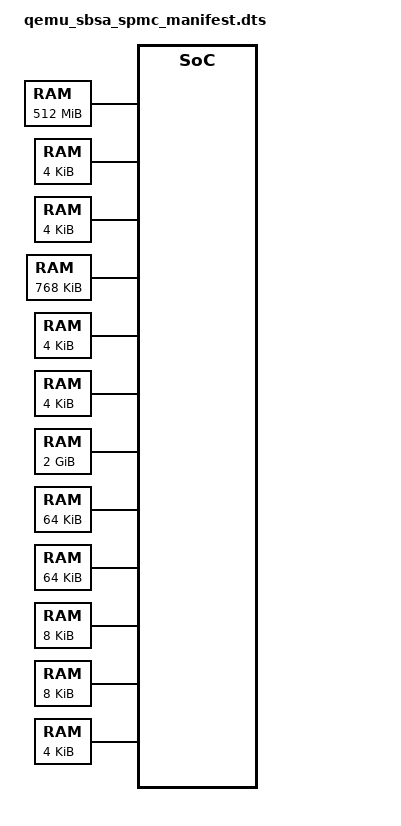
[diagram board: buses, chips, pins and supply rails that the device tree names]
 /dts-v1/;
 / {
   compatible = "arm,ffa-core-manifest-1.0";
   #address-cells = <2>;
   #size-cells = <2>;
   attribute {
     spmc_id = <0x8000>;
     maj_ver = <0x1>;
     min_ver = <0x1>;
     exec_state = <0x0>;
     load_address = <0x0 0x30000000>;
     entrypoint = <0x0 0x30000000>;
     binary_size = <0x80000>;
   };

   hypervisor {
     compatible = "hafnium,hafnium";
     vm1 {
       is_ffa_partition;
       debug_name = "ec-sp";
       load_address = <0x0 0x20002000>;
       vcpu_count = <1>;
       mem_size = <0x0 0x300000>;
     };
   };

   cpus {
     #address-cells = <0x2>;
     #size-cells = <0x0>;
    cpu@0 {
      device_type = "cpu";
      reg = <0x0 0x0>;
    };
    cpu@3 {
      device_type = "cpu";
      reg = <0x0 0x3>;
    };
  cpu@2 {
   device_type = "cpu";
   reg = <0x0 0x2>;
  };
  cpu@1 {
   device_type = "cpu";
   reg = <0x0 0x1>;
  };
   };
  memory@0 {
    device_type = "memory";
    reg = <0x0 0x20000000 0x0 0x20000000>;
  };
  memory@1 {
  device_type = "device-memory";
  reg = <0x0 0x60000000 0x0 0x00001000>;
 };
  memory@3 {
  device_type = "device-memory";
  reg = <0x0 0x60040000 0x0 0x00001000>;
 };
  memory@4 {
  device_type = "device-memory";
  reg = <0x0 0x01000000 0x0 0x000C0000>;
 };
  memory@5 {
  device_type = "device-memory";
  reg = <0x0 0x60030000 0x0 0x00001000>;
 };
  memory@6 {
  device_type = "device-memory";
  reg = <0x00000100 0x1FFFE000 0x0 0x00001000>;
 };
  memory@2 {
    device_type = "ns-memory";
    reg = <0x00000100 0x00000000 0x0 0x80000000>;
  };
  memory@8 {
    device_type = "device-memory";
    reg = <0x00000100 0x00200000 0x0 0x00010000>;
  };
  memory@9 {
    device_type = "device-memory";
    reg = <0x00000000 0x60120000 0x0 0x00010000>;
  };
  memory@10 {
    device_type = "memory";
    reg = <0x00000100 0x60000000 0x0 0x00002000>;
  };
  memory@11 {
    device_type = "memory";
    reg = <0x00000100 0x600A0000 0x0 0x00002000>;
  };
  memory@12 {
    device_type = "device-memory";
    reg = <0x0 0x60200000 0x0 0x00001000>;
 };
};
